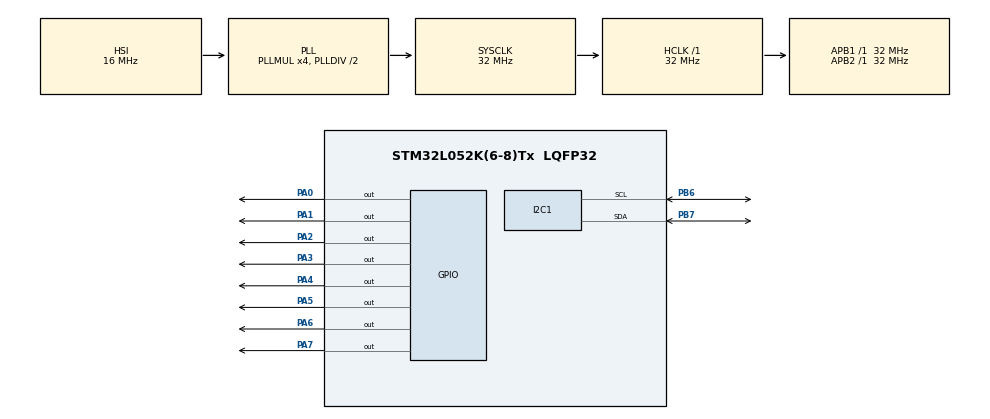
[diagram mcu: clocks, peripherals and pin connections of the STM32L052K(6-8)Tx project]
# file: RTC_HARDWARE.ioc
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I2C1.Timing=0x00B07CB4
Mcu.Family=STM32L0
Mcu.Name=STM32L052K(6-8)Tx
Mcu.Package=LQFP32
PA0.Signal=GPIO_Output
PA1.Signal=GPIO_Output
PA13.Mode=Serial_Wire
PA13.Signal=SYS_SWDIO
PA14.Mode=Serial_Wire
PA14.Signal=SYS_SWCLK
PA2.Signal=GPIO_Output
PA3.Signal=GPIO_Output
PA4.Signal=GPIO_Output
PA5.Signal=GPIO_Output
PA6.Signal=GPIO_Output
PA7.Signal=GPIO_Output
PB6.Mode=I2C
PB6.Signal=I2C1_SCL
PB7.Mode=I2C
PB7.Signal=I2C1_SDA
ProjectManager.HeapSize=0x200
ProjectManager.StackSize=0x400
ProjectManager.TargetToolchain=STM32CubeIDE
RCC.AHBFreq_Value=32000000
RCC.APB1Freq_Value=32000000
RCC.APB1TimFreq_Value=32000000
RCC.APB2Freq_Value=32000000
RCC.APB2TimFreq_Value=32000000
RCC.HCLKFreq_Value=32000000
RCC.HSI16_VALUE=16000000
RCC.HSI48_VALUE=48000000
RCC.HSI_VALUE=16000000
RCC.LSE_VALUE=32768
RCC.MSI_VALUE=2097000
RCC.PLLMUL=RCC_PLLMUL_4
RCC.SYSCLKFreq_VALUE=32000000
RCC.SYSCLKSource=RCC_SYSCLKSOURCE_PLLCLK
RCC.VCOOutputFreq_Value=64000000
board=custom

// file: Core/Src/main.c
/* USER CODE BEGIN Header */
/**
  ******************************************************************************
  * @file           : main.c
  * @brief          : Main program body
  ******************************************************************************
  * @attention
  *
  * Copyright (c) 2026 STMicroelectronics.
  * All rights reserved.
  *
  * This software is licensed under terms that can be found in the LICENSE file
  * in the root directory of this software component.
  * If no LICENSE file comes with this software, it is provided AS-IS.
  *
  ******************************************************************************
  */
/* USER CODE END Header */
#include "main.h"

/* USER CODE BEGIN Includes */
#include "lcdd.h"
#include <stdio.h>
/* USER CODE END Includes */

I2C_HandleTypeDef hi2c1;

/* USER CODE BEGIN PV */
uint8_t h, m, s;
char buffer[20];

/* USER CODE END PV */

void SystemClock_Config(void);
static void MX_GPIO_Init(void);
static void MX_I2C1_Init(void);

/* USER CODE BEGIN 0 */

uint8_t dec_to_bcd(uint8_t val)
{
    return ((val / 10 * 16)+ (val % 10));
}

uint8_t bcd_to_dec(uint8_t val)
{
    return ((val / 16 * 10) + (val % 16));

//    return ((val >> 4) * 10) + (val & 0x0F);
}

void DS3231_SetTime(uint8_t hour, uint8_t min, uint8_t sec)
{
    uint8_t data[3];

    data[0] = dec_to_bcd(sec) & 0x7F;;  // clear CH bit
    data[1] = dec_to_bcd(min);
    data[2] = dec_to_bcd(hour);

    HAL_I2C_Mem_Write(&hi2c1,0x68 << 1,
                      0x00,
                      1,
                      data,
                      3,
                      100);
}

void DS3231_GetTime(uint8_t *hour, uint8_t *min, uint8_t *sec)
{
    uint8_t data[3];

    HAL_I2C_Mem_Read(&hi2c1,
                     0x68 << 1,
                     0x00,
                     1,
                     data,
                     3,
                     100);

    s  = bcd_to_dec(data[0] & 0x7F); // FIXED
    m  = bcd_to_dec(data[1]);
    h  = bcd_to_dec(data[2]);

    lcd_goto_rc(&hi2c1, 0, 0);
    sprintf(buffer, "%02d:%02d:%02d", h, m, s);
    lcd_putstr(&hi2c1, buffer);
}

/* USER CODE END 0 */

int main(void)
{

  /* MCU Configuration--------------------------------------------------------*/

  /* Reset of all peripherals, Initializes the Flash interface and the Systick. */
  HAL_Init();

  /* Configure the system clock */
  SystemClock_Config();

  /* Initialize all configured peripherals */
  MX_GPIO_Init();
  MX_I2C1_Init();
  /* USER CODE BEGIN 2 */
      lcd_init(&hi2c1);                                     // initialize LCD display (I2C connected)
      lcd_write_cmd(&hi2c1, LCD_CLEAR_DISPLAY);             // clear display
      lcd_write_cmd(&hi2c1, LCD_CURSOR_OFF);                // hide cursor
      lcd_goto_rc(&hi2c1, 0, 0);                            // cursor to first row first col
      lcd_putstr(&hi2c1, "IndiaSkills 2024");               // print text
      lcd_goto_rc(&hi2c1, 1, 0);                            // cursor to second row first col
      lcd_putstr(&hi2c1, "National");                       // print starting texts
      HAL_Delay(2000);
      lcd_write_cmd(&hi2c1, LCD_CLEAR_DISPLAY);             // clear display

      DS3231_SetTime(12, 30, 0);  // set time = 12:30:00
  /* USER CODE END 2 */

  /* Infinite loop */
  /* USER CODE BEGIN WHILE */
  while (1)
  {
	  DS3231_GetTime(&h, &m, &s);

	          uint8_t value = s;

	          HAL_GPIO_WritePin(GPIOA,
	              GPIO_PIN_0 | GPIO_PIN_1 | GPIO_PIN_2 | GPIO_PIN_3 |
	              GPIO_PIN_4 | GPIO_PIN_5 | GPIO_PIN_6 | GPIO_PIN_7,
	              GPIO_PIN_RESET);

	          HAL_GPIO_WritePin(GPIOA, GPIO_PIN_0, (value & 0x01) ? GPIO_PIN_SET : GPIO_PIN_RESET);
	          HAL_GPIO_WritePin(GPIOA, GPIO_PIN_1, (value & 0x02) ? GPIO_PIN_SET : GPIO_PIN_RESET);
	          HAL_GPIO_WritePin(GPIOA, GPIO_PIN_2, (value & 0x04) ? GPIO_PIN_SET : GPIO_PIN_RESET);
	          HAL_GPIO_WritePin(GPIOA, GPIO_PIN_3, (value & 0x08) ? GPIO_PIN_SET : GPIO_PIN_RESET);
	          HAL_GPIO_WritePin(GPIOA, GPIO_PIN_4, (value & 0x10) ? GPIO_PIN_SET : GPIO_PIN_RESET);
	          HAL_GPIO_WritePin(GPIOA, GPIO_PIN_5, (value & 0x20) ? GPIO_PIN_SET : GPIO_PIN_RESET);
	          HAL_GPIO_WritePin(GPIOA, GPIO_PIN_6, (value & 0x40) ? GPIO_PIN_SET : GPIO_PIN_RESET);
	          HAL_GPIO_WritePin(GPIOA, GPIO_PIN_7, (value & 0x80) ? GPIO_PIN_SET : GPIO_PIN_RESET);

//	      lcd_goto_rc(&hi2c1, 0, 0);
////	      lcd_putstr(&hi2c1, "                "); // clear line
//
//	      sprintf(buffer, "TIME:%02d:%02d:%02d", h, m, s);
//
//	      lcd_goto_rc(&hi2c1, 0, 0);
//	      lcd_putstr(&hi2c1, buffer);
//
//	      HAL_Delay(1000);
    /* USER CODE END WHILE */

}

void SystemClock_Config(void)
{
  RCC_OscInitTypeDef RCC_OscInitStruct = {0};
  RCC_ClkInitTypeDef RCC_ClkInitStruct = {0};
  RCC_PeriphCLKInitTypeDef PeriphClkInit = {0};

  /** Configure the main internal regulator output voltage
  */
  __HAL_PWR_VOLTAGESCALING_CONFIG(PWR_REGULATOR_VOLTAGE_SCALE1);

  /** Initializes the RCC Oscillators according to the specified parameters
  * in the RCC_OscInitTypeDef structure.
  */
  RCC_OscInitStruct.OscillatorType = RCC_OSCILLATORTYPE_HSI;
  RCC_OscInitStruct.HSIState = RCC_HSI_ON;
  RCC_OscInitStruct.HSICalibrationValue = RCC_HSICALIBRATION_DEFAULT;
  RCC_OscInitStruct.PLL.PLLState = RCC_PLL_ON;
  RCC_OscInitStruct.PLL.PLLSource = RCC_PLLSOURCE_HSI;
  RCC_OscInitStruct.PLL.PLLMUL = RCC_PLLMUL_4;
  RCC_OscInitStruct.PLL.PLLDIV = RCC_PLLDIV_2;
  if (HAL_RCC_OscConfig(&RCC_OscInitStruct) != HAL_OK)
  {
    Error_Handler();
  }

  /** Initializes the CPU, AHB and APB buses clocks
  */
  RCC_ClkInitStruct.ClockType = RCC_CLOCKTYPE_HCLK|RCC_CLOCKTYPE_SYSCLK
                              |RCC_CLOCKTYPE_PCLK1|RCC_CLOCKTYPE_PCLK2;
  RCC_ClkInitStruct.SYSCLKSource = RCC_SYSCLKSOURCE_PLLCLK;
  RCC_ClkInitStruct.AHBCLKDivider = RCC_SYSCLK_DIV1;
  RCC_ClkInitStruct.APB1CLKDivider = RCC_HCLK_DIV1;
  RCC_ClkInitStruct.APB2CLKDivider = RCC_HCLK_DIV1;

  if (HAL_RCC_ClockConfig(&RCC_ClkInitStruct, FLASH_LATENCY_1) != HAL_OK)
  {
    Error_Handler();
  }
  PeriphClkInit.PeriphClockSelection = RCC_PERIPHCLK_I2C1;
  PeriphClkInit.I2c1ClockSelection = RCC_I2C1CLKSOURCE_PCLK1;
  if (HAL_RCCEx_PeriphCLKConfig(&PeriphClkInit) != HAL_OK)
  {
    Error_Handler();
  }
}

static void MX_I2C1_Init(void)
{

  hi2c1.Instance = I2C1;
  hi2c1.Init.Timing = 0x00B07CB4;
  hi2c1.Init.OwnAddress1 = 0;
  hi2c1.Init.AddressingMode = I2C_ADDRESSINGMODE_7BIT;
  hi2c1.Init.DualAddressMode = I2C_DUALADDRESS_DISABLE;
  hi2c1.Init.OwnAddress2 = 0;
  hi2c1.Init.OwnAddress2Masks = I2C_OA2_NOMASK;
  hi2c1.Init.GeneralCallMode = I2C_GENERALCALL_DISABLE;
  hi2c1.Init.NoStretchMode = I2C_NOSTRETCH_DISABLE;
  if (HAL_I2C_Init(&hi2c1) != HAL_OK)
  {
    Error_Handler();
  }

  /** Configure Analogue filter
  */
  if (HAL_I2CEx_ConfigAnalogFilter(&hi2c1, I2C_ANALOGFILTER_ENABLE) != HAL_OK)
  {
    Error_Handler();
  }

  /** Configure Digital filter
  */
  if (HAL_I2CEx_ConfigDigitalFilter(&hi2c1, 0) != HAL_OK)
  {
    Error_Handler();
  }

}

static void MX_GPIO_Init(void)
{
  GPIO_InitTypeDef GPIO_InitStruct = {0};

  /* GPIO Ports Clock Enable */
  __HAL_RCC_GPIOA_CLK_ENABLE();
  __HAL_RCC_GPIOB_CLK_ENABLE();

  /*Configure GPIO pin Output Level */
  HAL_GPIO_WritePin(GPIOA, GPIO_PIN_0|GPIO_PIN_1|GPIO_PIN_2|GPIO_PIN_3
                          |GPIO_PIN_4|GPIO_PIN_5|GPIO_PIN_6|GPIO_PIN_7, GPIO_PIN_RESET);

  /*Configure GPIO pins : PA0 PA1 PA2 PA3
                           PA4 PA5 PA6 PA7 */
  GPIO_InitStruct.Pin = GPIO_PIN_0|GPIO_PIN_1|GPIO_PIN_2|GPIO_PIN_3
                          |GPIO_PIN_4|GPIO_PIN_5|GPIO_PIN_6|GPIO_PIN_7;
  GPIO_InitStruct.Mode = GPIO_MODE_OUTPUT_PP;
  GPIO_InitStruct.Pull = GPIO_NOPULL;
  GPIO_InitStruct.Speed = GPIO_SPEED_FREQ_LOW;
  HAL_GPIO_Init(GPIOA, &GPIO_InitStruct);

}

void Error_Handler(void)
{
  __disable_irq();
  while (1)
  {
  }
}
